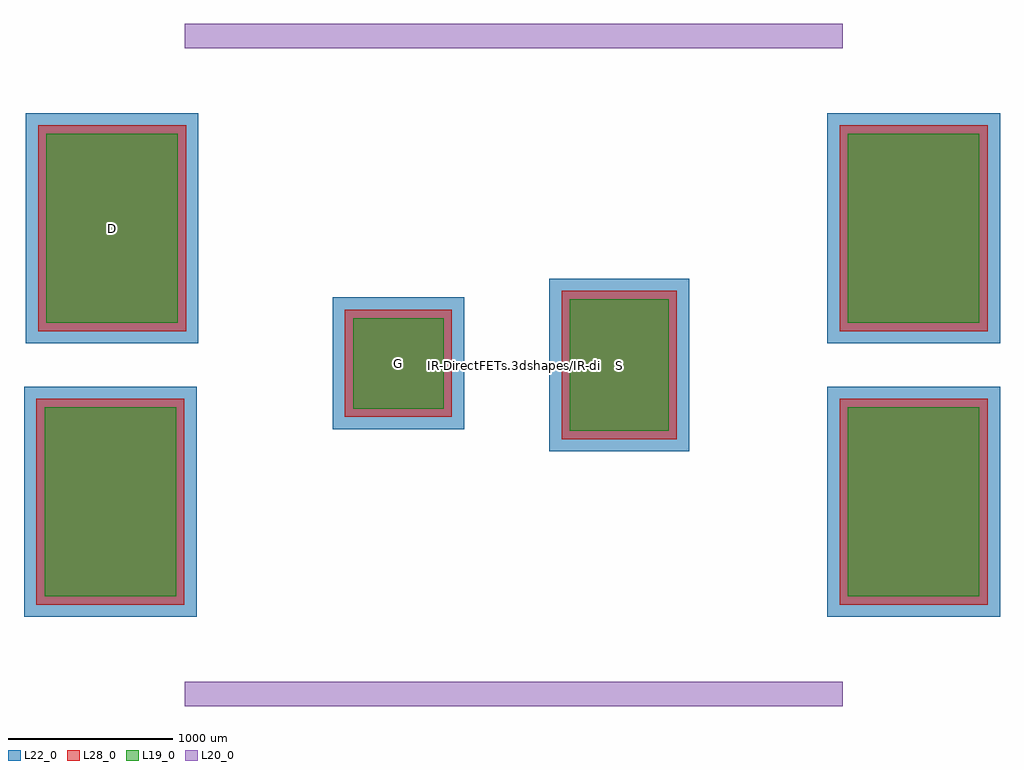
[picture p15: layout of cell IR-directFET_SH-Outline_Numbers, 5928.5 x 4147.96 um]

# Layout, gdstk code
import gdstk
lib = gdstk.Library(unit=1e-6, precision=1e-09)
def R(c, l, rs):  # rectangles x0, y0, x1, y1
    for r in rs: c.add(gdstk.rectangle(r[:2], r[2:], *l))
L19_0 = (19, 0)
L20_0 = (20, 0)
L22_0 = (22, 0)
L28_0 = (28, 0)

ir_directfet_sh_outline_ = lib.new_cell('IR-directFET_SH-Outline_Numbers')
R(ir_directfet_sh_outline_, L19_0, [(-2850.68,-1405.42,-2051.52,-255.74), (2028.66,-1405.42,2827.82,-255.74), (339.56,-399.58,940.6,399.58), (-976.16,-264.96,-425.92,285.28), (-2840.52,255.74,-2041.36,1405.42), (2028.66,255.74,2827.82,1405.42)])
R(ir_directfet_sh_outline_, L22_0, [(-2975.68,-1530.42,-1926.52,-130.74), (1903.66,-1530.42,2952.82,-130.74), (214.56,-524.58,1065.6,524.58), (-1101.16,-389.96,-300.92,410.28), (-2965.52,130.74,-1916.36,1530.42), (1903.66,130.74,2952.82,1530.42)])
R(ir_directfet_sh_outline_, L28_0, [(-2900.68,-1455.42,-2001.52,-205.74), (1978.66,-1455.42,2877.82,-205.74), (289.56,-449.58,990.6,449.58), (-1026.16,-314.96,-375.92,335.28), (-2890.52,205.74,-1991.36,1455.42), (1978.66,205.74,2877.82,1455.42)])
ir_directfet_sh_outline_.add(gdstk.FlexPath([(-1998.98,1998.98),(1998.98,1998.98)], 149.998, ends="flush", simple_path=True, layer=20, datatype=0))  # L20_0
ir_directfet_sh_outline_.add(gdstk.FlexPath([(1998.98,-1998.98),(-1998.98,-1998.98)], 149.998, ends="flush", simple_path=True, layer=20, datatype=0))  # L20_0
ir_directfet_sh_outline_.add(gdstk.Label('IR-DirectFETs.3dshapes/IR-directFET_SH-Outline_Numbers.wrl', (0,0), layer=12, texttype=0))
ir_directfet_sh_outline_.add(gdstk.Label('D', (-2440.94,830.58), layer=28, texttype=0))
ir_directfet_sh_outline_.add(gdstk.Label('S', (640.08,0), layer=28, texttype=0))
ir_directfet_sh_outline_.add(gdstk.Label('G', (-701.04,10.16), layer=28, texttype=0))
ir_directfet_sh_outline_.add(gdstk.Label('type', (0,-4399.28), layer=9, texttype=0))
ir_directfet_sh_outline_.add(gdstk.Label('devicename', (0,3700.78), layer=9, texttype=0))

lib.write_gds('IR-directFET_SH-Outline_Numbers.gds')
